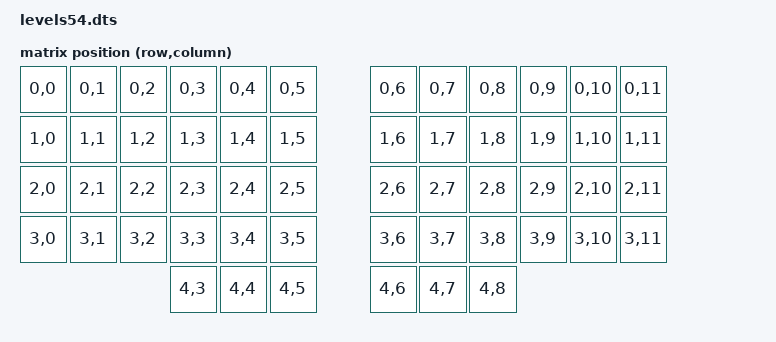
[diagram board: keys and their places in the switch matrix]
/*
 * Copyright (c) 2025 Vincent Franco
 * SPDX-License-Identifier: MIT
 */

/dts-v1/;
#include <nordic/nrf52840_qiaa.dtsi>

#include <dt-bindings/zmk/matrix_transform.h>
#include <dt-bindings/zmk/input_transform.h>
#include <input/processors.dtsi>

#include "levels54-layouts.dtsi"
#include "levels54-pinctrl.dtsi"

&physical_layout0 {
  transform = <&matrix_transform0>;
};

/ {
    chosen {
      zmk,kscan = &kscan0;
      zmk,physical-layout = &physical_layout0;
      zephyr,code-partition = &code_partition;
      zephyr,sram = &sram0;
      zephyr,flash = &flash0;
      zmk,battery = &vbatt;
    };

    /* leds { */
    /*   compatible = "gpio-leds"; */
    /*   blue_led: led_0 { */
    /*     gpios = <&gpio0 4 GPIO_ACTIVE_HIGH>; */
    /*   }; */
    /* }; */

    vbatt: vbatt {
      compatible = "zmk,battery-nrf-vddh";
    };

    matrix_transform0: keymap_transform0 {
      compatible = "zmk,matrix-transform";
      columns = <12>;
      rows = <5>;
      map = <
        RC(0,0) RC(0,1) RC(0,2) RC(0,3) RC(0,4) RC(0,5)      RC(0,6) RC(0,7) RC(0,8) RC(0,9) RC(0,10) RC(0,11)
        RC(1,0) RC(1,1) RC(1,2) RC(1,3) RC(1,4) RC(1,5)      RC(1,6) RC(1,7) RC(1,8) RC(1,9) RC(1,10) RC(1,11)
        RC(2,0) RC(2,1) RC(2,2) RC(2,3) RC(2,4) RC(2,5)      RC(2,6) RC(2,7) RC(2,8) RC(2,9) RC(2,10) RC(2,11)
        RC(3,0) RC(3,1) RC(3,2) RC(3,3) RC(3,4) RC(3,5)      RC(3,6) RC(3,7) RC(3,8) RC(3,9) RC(3,10) RC(3,11)
                                RC(4,3) RC(4,4) RC(4,5)      RC(4,6) RC(4,7) RC(4,8)
      >;
    };

    kscan0: kscan {
      compatible = "zmk,kscan-gpio-matrix";
      debounce-press-ms = <8>;
      debounce-release-ms = <6>;
      diode-direction = "col2row";
      wakeup-source;
    };

    //right hand trackball
    split_inputs {
      #address-cells = <1>;
      #size-cells = <0>;

      trackball_peripheral_split: trackball_peripheral_split@0 {
        compatible = "zmk,input-split";
        reg = <0>;
      };
    };

    trackball_peripheral_listener: trackball_peripheral_listener {
      compatible = "zmk,input-listener";
      status = "disabled";
      device = <&trackball_peripheral_split>;
    };

    //left hand trackball
    trackball_central_listener: trackball_central_listener {
      compatible = "zmk,input-listener";
      status = "disabled";
    };
};

&pinctrl {
    spi0_default: spi0_default {
        group1 {
            psels 
              = <NRF_PSEL(SPIM_SCK, 0, 6)>
              , <NRF_PSEL(SPIM_MOSI, 0, 26)>
              , <NRF_PSEL(SPIM_MISO, 0, 26)>
              ;
        };
    };

    spi0_sleep: spi0_sleep {
        group1 {
            psels 
              = <NRF_PSEL(SPIM_SCK, 0, 6)>
              , <NRF_PSEL(SPIM_MOSI, 0, 26)>
              , <NRF_PSEL(SPIM_MISO, 0, 26)>
              ;
            low-power-enable;
        };
    };
};

&adc {
	status = "okay";
};

&gpiote {
    status = "okay";
};

&gpio0 {
	status = "okay";
};

&gpio1 {
	status = "okay";
};

&usbd {
	status = "okay";
};

&spi0 {
  status = "okay";
  compatible = "nordic,nrf-spim";
  pinctrl-0 = <&spi0_default>;
  pinctrl-1 = <&spi0_sleep>;
  pinctrl-names = "default", "sleep";
};

&spi1 {
    compatible = "nordic,nrf-spim";
    pinctrl-0 = <&spi1_default>;
    pinctrl-1 = <&spi1_sleep>;
    pinctrl-names = "default", "sleep";
};

zephyr_udc0: &usbd {
    status = "okay";
};

&flash0 {
	/*
	 * For more information, see:
	 * http://docs.zephyrproject.org/latest/devices/dts/flash_partitions.html
	 */
  partitions {
    compatible = "fixed-partitions";
    #address-cells = <1>;
		#size-cells = <1>;

    sd_partition: partition@0 {
      reg = <0x00000000 0x00026000>;
    };
    code_partition: partition@26000 {
      reg = <0x00026000 0x000c6000>;
    };

    /*
     * The flash starting at 0x000ec000 and ending at
     * 0x000f3fff is reserved for use by the application.
     */

    /*
     * Storage partition will be used by FCB/LittleFS/NVS
     * if enabled.
     */
		storage_partition: partition@ec000 {
			reg = <0x000ec000 0x00008000>;
		};

		boot_partition: partition@f4000 {
			reg = <0x000f4000 0x0000c000>;
		};
  };
};
